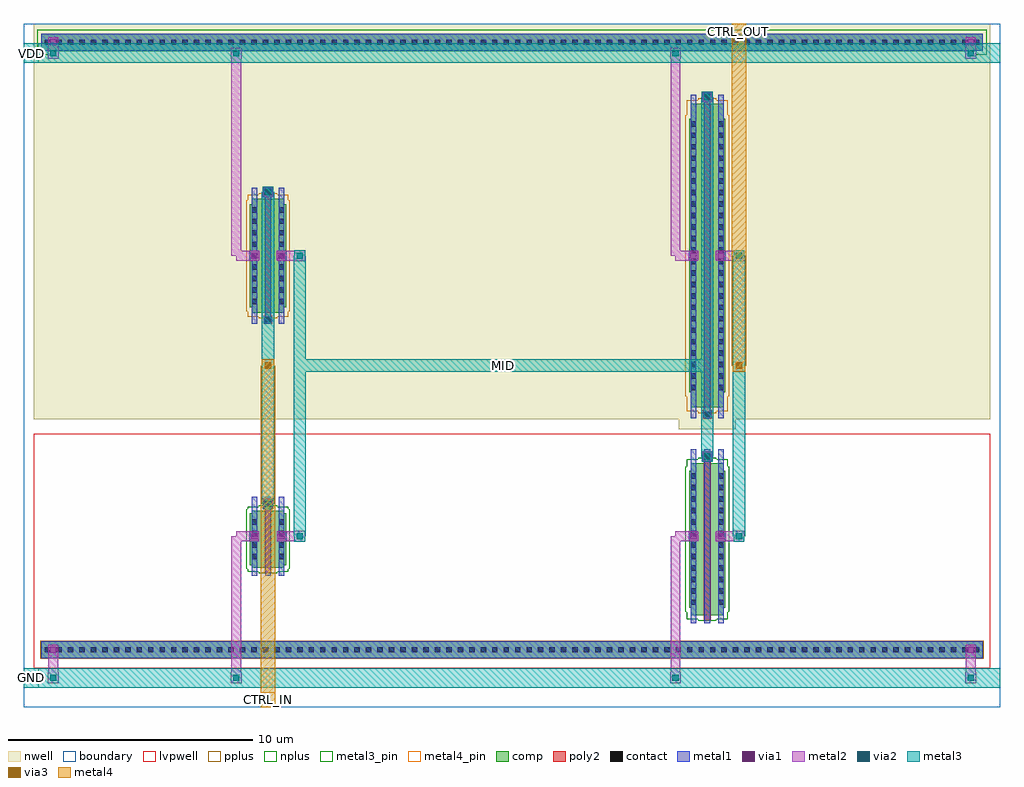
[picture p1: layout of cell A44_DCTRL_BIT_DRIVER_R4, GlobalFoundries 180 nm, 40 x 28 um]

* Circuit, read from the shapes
.subckt A44_DCTRL_BIT_DRIVER_R4 CTRL_IN CTRL_OUT GND MID VDD
XM1 MID CTRL_IN GND GND nfet_03v3 w=2.34u l=0.28u
XM2 CTRL_OUT MID GND GND nfet_03v3 w=6.22u l=0.28u
XM3 MID CTRL_IN VDD VDD pfet_03v3 w=4.67u l=0.28u
XM4 CTRL_OUT MID VDD VDD pfet_03v3 w=12.44u l=0.28u
.ends

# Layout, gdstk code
import gdstk
lib = gdstk.Library(unit=1e-6, precision=1e-09)
def R(c, l, rs):  # rectangles x0, y0, x1, y1
    for r in rs: c.add(gdstk.rectangle(r[:2], r[2:], *l))
def A(c, l, x, y, w, h, nx, ny, dx, dy):  # array of equal rectangles
    R(c, l, [(x+i*dx, y+j*dy, x+i*dx+w, y+j*dy+h) for i in range(nx) for j in range(ny)])
boundary = (0, 0)
nwell = (21, 0)
comp = (22, 0)
poly2 = (30, 0)
pplus = (31, 0)
nplus = (32, 0)
contact = (33, 0)
metal1 = (34, 0)
via1 = (35, 0)
metal2 = (36, 0)
via2 = (38, 0)
via3 = (40, 0)
metal3 = (42, 0)
metal3_pin = (42, 10)
metal4 = (46, 0)
metal4_pin = (46, 10)
lvpwell = (204, 0)

nfet_03v3_6lx9qf = lib.new_cell('nfet_03v3_6LX9QF')
R(nfet_03v3_6lx9qf, comp, [(-0.675,-3.23,0.675,-2.925), (-0.675,-3.23,0.675,-2.925), (-0.74,-2.925,0.74,2.685), (-0.74,-2.925,0.74,2.685), (-0.675,2.685,0.675,2.99), (-0.675,2.685,0.675,2.99)])
R(nfet_03v3_6lx9qf, poly2, [(-0.14,-3.45,0.14,3.09), (-0.14,-3.45,0.14,3.09), (-0.18,3.09,0.18,3.45), (-0.18,3.09,0.18,3.45)])
R(nfet_03v3_6lx9qf, nplus, [(-0.37,-3.46,0.37,-3.39), (-0.37,-3.46,0.37,-3.39), (-0.835,-3.39,0.835,-3.085), (-0.835,-3.39,0.835,-3.085), (-0.9,-3.085,0.9,2.845), (-0.9,-3.085,0.9,2.845), (-0.835,2.845,0.835,3.15), (-0.835,2.845,0.835,3.15), (-0.37,3.15,0.37,3.22), (-0.37,3.15,0.37,3.22)])
R(nfet_03v3_6lx9qf, contact, [(-0.67,-2.815,-0.45,-2.595), (-0.67,-2.815,-0.45,-2.595), (0.45,-2.815,0.67,-2.595), (0.45,-2.815,0.67,-2.595), (-0.67,-2.345,-0.45,-2.125), (-0.67,-2.345,-0.45,-2.125), (0.45,-2.345,0.67,-2.125), (0.45,-2.345,0.67,-2.125), (-0.67,-1.875,-0.45,-1.655), (-0.67,-1.875,-0.45,-1.655), (0.45,-1.875,0.67,-1.655), (0.45,-1.875,0.67,-1.655), (-0.67,-1.405,-0.45,-1.185), (-0.67,-1.405,-0.45,-1.185), (0.45,-1.405,0.67,-1.185), (0.45,-1.405,0.67,-1.185), (-0.67,-0.935,-0.45,-0.715), (-0.67,-0.935,-0.45,-0.715), (0.45,-0.935,0.67,-0.715), (0.45,-0.935,0.67,-0.715), (-0.67,-0.465,-0.45,-0.245), (-0.67,-0.465,-0.45,-0.245), (0.45,-0.465,0.67,-0.245), (0.45,-0.465,0.67,-0.245), (-0.67,0.005,-0.45,0.225), (-0.67,0.005,-0.45,0.225), (0.45,0.005,0.67,0.225), (0.45,0.005,0.67,0.225), (-0.67,0.475,-0.45,0.695), (-0.67,0.475,-0.45,0.695), (0.45,0.475,0.67,0.695), (0.45,0.475,0.67,0.695), (-0.67,0.945,-0.45,1.165), (-0.67,0.945,-0.45,1.165), (0.45,0.945,0.67,1.165), (0.45,0.945,0.67,1.165), (-0.67,1.415,-0.45,1.635), (-0.67,1.415,-0.45,1.635), (0.45,1.415,0.67,1.635), (0.45,1.415,0.67,1.635), (-0.67,1.885,-0.45,2.105), (-0.67,1.885,-0.45,2.105), (0.45,1.885,0.67,2.105), (0.45,1.885,0.67,2.105), (-0.67,2.355,-0.45,2.575), (-0.67,2.355,-0.45,2.575), (0.45,2.355,0.67,2.575), (0.45,2.355,0.67,2.575), (-0.11,3.16,0.11,3.38), (-0.11,3.16,0.11,3.38)])
R(nfet_03v3_6lx9qf, metal1, [(-0.675,-2.915,-0.445,2.675), (-0.675,-2.915,-0.445,2.675), (0.445,-2.915,0.675,2.675), (0.445,-2.915,0.675,2.675), (-0.17,3.155,0.17,3.385), (-0.17,3.155,0.17,3.385)])
R(nfet_03v3_6lx9qf, lvpwell, [(-0.86,-3.57,0.86,3.57), (-0.86,-3.57,0.86,3.57)])

nfet_03v3_whe5hu = lib.new_cell('nfet_03v3_WHE5HU')
R(nfet_03v3_whe5hu, comp, [(-0.675,-1.29,0.675,-1.18), (-0.675,-1.29,0.675,-1.18), (-0.74,-1.18,0.74,0.94), (-0.74,-1.18,0.74,0.94), (-0.675,0.94,0.675,1.05), (-0.675,0.94,0.675,1.05)])
R(nfet_03v3_whe5hu, poly2, [(-0.14,-1.51,0.14,1.15), (-0.14,-1.51,0.14,1.15), (-0.18,1.15,0.18,1.51), (-0.18,1.15,0.18,1.51)])
R(nfet_03v3_whe5hu, nplus, [(-0.37,-1.52,0.37,-1.45), (-0.37,-1.52,0.37,-1.45), (-0.835,-1.45,0.835,-1.34), (-0.835,-1.45,0.835,-1.34), (-0.9,-1.34,0.9,1.1), (-0.9,-1.34,0.9,1.1), (-0.835,1.1,0.835,1.21), (-0.835,1.1,0.835,1.21), (-0.37,1.21,0.37,1.28), (-0.37,1.21,0.37,1.28)])
R(nfet_03v3_whe5hu, contact, [(-0.67,-0.935,-0.45,-0.715), (-0.67,-0.935,-0.45,-0.715), (0.45,-0.935,0.67,-0.715), (0.45,-0.935,0.67,-0.715), (-0.67,-0.465,-0.45,-0.245), (-0.67,-0.465,-0.45,-0.245), (0.45,-0.465,0.67,-0.245), (0.45,-0.465,0.67,-0.245), (-0.67,0.005,-0.45,0.225), (-0.67,0.005,-0.45,0.225), (0.45,0.005,0.67,0.225), (0.45,0.005,0.67,0.225), (-0.67,0.475,-0.45,0.695), (-0.67,0.475,-0.45,0.695), (0.45,0.475,0.67,0.695), (0.45,0.475,0.67,0.695), (-0.11,1.22,0.11,1.44), (-0.11,1.22,0.11,1.44)])
R(nfet_03v3_whe5hu, metal1, [(-0.675,-1.17,-0.445,0.93), (-0.675,-1.17,-0.445,0.93), (0.445,-1.17,0.675,0.93), (0.445,-1.17,0.675,0.93), (-0.17,1.215,0.17,1.445), (-0.17,1.215,0.17,1.445)])
R(nfet_03v3_whe5hu, lvpwell, [(-0.86,-1.63,0.86,1.63), (-0.86,-1.63,0.86,1.63)])

pfet_03v3_8rs7kv = lib.new_cell('pfet_03v3_8RS7KV')
R(pfet_03v3_8rs7kv, nwell, [(-1.17,-7.11,1.17,7.11), (-1.17,-7.11,1.17,7.11)])
R(pfet_03v3_8rs7kv, comp, [(-0.675,-6.22,0.675,-5.605), (-0.675,-6.22,0.675,-5.605), (-0.74,-5.605,0.74,5.605), (-0.74,-5.605,0.74,5.605), (-0.675,5.605,0.675,6.22), (-0.675,5.605,0.675,6.22)])
R(pfet_03v3_8rs7kv, poly2, [(-0.18,-6.68,0.18,-6.32), (-0.18,-6.68,0.18,-6.32), (-0.14,-6.32,0.14,6.32), (-0.14,-6.32,0.14,6.32), (-0.18,6.32,0.18,6.68), (-0.18,6.32,0.18,6.68)])
R(pfet_03v3_8rs7kv, pplus, [(-0.37,-6.45,0.37,-6.38), (-0.37,-6.45,0.37,-6.38), (-0.835,-6.38,0.835,-5.765), (-0.835,-6.38,0.835,-5.765), (-0.9,-5.765,0.9,5.765), (-0.9,-5.765,0.9,5.765), (-0.835,5.765,0.835,6.38), (-0.835,5.765,0.835,6.38), (-0.37,6.38,0.37,6.45), (-0.37,6.38,0.37,6.45)])
R(pfet_03v3_8rs7kv, contact, [(-0.11,-6.61,0.11,-6.39), (-0.11,-6.61,0.11,-6.39), (-0.67,-5.515,-0.45,-5.295), (-0.67,-5.515,-0.45,-5.295), (0.45,-5.515,0.67,-5.295), (0.45,-5.515,0.67,-5.295), (-0.67,-5.045,-0.45,-4.825), (-0.67,-5.045,-0.45,-4.825), (0.45,-5.045,0.67,-4.825), (0.45,-5.045,0.67,-4.825), (-0.67,-4.575,-0.45,-4.355), (-0.67,-4.575,-0.45,-4.355), (0.45,-4.575,0.67,-4.355), (0.45,-4.575,0.67,-4.355), (-0.67,-4.105,-0.45,-3.885), (-0.67,-4.105,-0.45,-3.885), (0.45,-4.105,0.67,-3.885), (0.45,-4.105,0.67,-3.885), (-0.67,-3.635,-0.45,-3.415), (-0.67,-3.635,-0.45,-3.415), (0.45,-3.635,0.67,-3.415), (0.45,-3.635,0.67,-3.415), (-0.67,-3.165,-0.45,-2.945), (-0.67,-3.165,-0.45,-2.945), (0.45,-3.165,0.67,-2.945), (0.45,-3.165,0.67,-2.945), (-0.67,-2.695,-0.45,-2.475), (-0.67,-2.695,-0.45,-2.475), (0.45,-2.695,0.67,-2.475), (0.45,-2.695,0.67,-2.475), (-0.67,-2.225,-0.45,-2.005), (-0.67,-2.225,-0.45,-2.005), (0.45,-2.225,0.67,-2.005), (0.45,-2.225,0.67,-2.005), (-0.67,-1.755,-0.45,-1.535), (-0.67,-1.755,-0.45,-1.535), (0.45,-1.755,0.67,-1.535), (0.45,-1.755,0.67,-1.535), (-0.67,-1.285,-0.45,-1.065), (-0.67,-1.285,-0.45,-1.065), (0.45,-1.285,0.67,-1.065), (0.45,-1.285,0.67,-1.065), (-0.67,-0.815,-0.45,-0.595), (-0.67,-0.815,-0.45,-0.595), (0.45,-0.815,0.67,-0.595), (0.45,-0.815,0.67,-0.595), (-0.67,-0.345,-0.45,-0.125), (-0.67,-0.345,-0.45,-0.125), (0.45,-0.345,0.67,-0.125), (0.45,-0.345,0.67,-0.125), (-0.67,0.125,-0.45,0.345), (-0.67,0.125,-0.45,0.345), (0.45,0.125,0.67,0.345), (0.45,0.125,0.67,0.345), (-0.67,0.595,-0.45,0.815), (-0.67,0.595,-0.45,0.815), (0.45,0.595,0.67,0.815), (0.45,0.595,0.67,0.815), (-0.67,1.065,-0.45,1.285), (-0.67,1.065,-0.45,1.285), (0.45,1.065,0.67,1.285), (0.45,1.065,0.67,1.285), (-0.67,1.535,-0.45,1.755), (-0.67,1.535,-0.45,1.755), (0.45,1.535,0.67,1.755), (0.45,1.535,0.67,1.755), (-0.67,2.005,-0.45,2.225), (-0.67,2.005,-0.45,2.225), (0.45,2.005,0.67,2.225), (0.45,2.005,0.67,2.225), (-0.67,2.475,-0.45,2.695), (-0.67,2.475,-0.45,2.695), (0.45,2.475,0.67,2.695), (0.45,2.475,0.67,2.695), (-0.67,2.945,-0.45,3.165), (-0.67,2.945,-0.45,3.165), (0.45,2.945,0.67,3.165), (0.45,2.945,0.67,3.165), (-0.67,3.415,-0.45,3.635), (-0.67,3.415,-0.45,3.635), (0.45,3.415,0.67,3.635), (0.45,3.415,0.67,3.635), (-0.67,3.885,-0.45,4.105), (-0.67,3.885,-0.45,4.105), (0.45,3.885,0.67,4.105), (0.45,3.885,0.67,4.105), (-0.67,4.355,-0.45,4.575), (-0.67,4.355,-0.45,4.575), (0.45,4.355,0.67,4.575), (0.45,4.355,0.67,4.575), (-0.67,4.825,-0.45,5.045), (-0.67,4.825,-0.45,5.045), (0.45,4.825,0.67,5.045), (0.45,4.825,0.67,5.045), (-0.67,5.295,-0.45,5.515), (-0.67,5.295,-0.45,5.515), (0.45,5.295,0.67,5.515), (0.45,5.295,0.67,5.515), (-0.11,6.39,0.11,6.61), (-0.11,6.39,0.11,6.61)])
R(pfet_03v3_8rs7kv, metal1, [(-0.17,-6.615,0.17,-6.385), (-0.17,-6.615,0.17,-6.385), (-0.675,-5.595,-0.445,5.595), (-0.675,-5.595,-0.445,5.595), (0.445,-5.595,0.675,5.595), (0.445,-5.595,0.675,5.595), (-0.17,6.385,0.17,6.615), (-0.17,6.385,0.17,6.615)])

pfet_03v3_gxth48 = lib.new_cell('pfet_03v3_GXTH48')
R(pfet_03v3_gxth48, nwell, [(-1.17,-3.225,1.17,3.225), (-1.17,-3.225,1.17,3.225)])
R(pfet_03v3_gxth48, comp, [(-0.675,-2.335,0.675,-2.11), (-0.675,-2.335,0.675,-2.11), (-0.74,-2.11,0.74,2.11), (-0.74,-2.11,0.74,2.11), (-0.675,2.11,0.675,2.335), (-0.675,2.11,0.675,2.335)])
R(pfet_03v3_gxth48, poly2, [(-0.18,-2.795,0.18,-2.435), (-0.18,-2.795,0.18,-2.435), (-0.14,-2.435,0.14,2.435), (-0.14,-2.435,0.14,2.435), (-0.18,2.435,0.18,2.795), (-0.18,2.435,0.18,2.795)])
R(pfet_03v3_gxth48, pplus, [(-0.37,-2.565,0.37,-2.495), (-0.37,-2.565,0.37,-2.495), (-0.835,-2.495,0.835,-2.27), (-0.835,-2.495,0.835,-2.27), (-0.9,-2.27,0.9,2.27), (-0.9,-2.27,0.9,2.27), (-0.835,2.27,0.835,2.495), (-0.835,2.27,0.835,2.495), (-0.37,2.495,0.37,2.565), (-0.37,2.495,0.37,2.565)])
R(pfet_03v3_gxth48, contact, [(-0.11,-2.725,0.11,-2.505), (-0.11,-2.725,0.11,-2.505), (-0.67,-1.99,-0.45,-1.77), (-0.67,-1.99,-0.45,-1.77), (0.45,-1.99,0.67,-1.77), (0.45,-1.99,0.67,-1.77), (-0.67,-1.52,-0.45,-1.3), (-0.67,-1.52,-0.45,-1.3), (0.45,-1.52,0.67,-1.3), (0.45,-1.52,0.67,-1.3), (-0.67,-1.05,-0.45,-0.83), (-0.67,-1.05,-0.45,-0.83), (0.45,-1.05,0.67,-0.83), (0.45,-1.05,0.67,-0.83), (-0.67,-0.58,-0.45,-0.36), (-0.67,-0.58,-0.45,-0.36), (0.45,-0.58,0.67,-0.36), (0.45,-0.58,0.67,-0.36), (-0.67,-0.11,-0.45,0.11), (-0.67,-0.11,-0.45,0.11), (0.45,-0.11,0.67,0.11), (0.45,-0.11,0.67,0.11), (-0.67,0.36,-0.45,0.58), (-0.67,0.36,-0.45,0.58), (0.45,0.36,0.67,0.58), (0.45,0.36,0.67,0.58), (-0.67,0.83,-0.45,1.05), (-0.67,0.83,-0.45,1.05), (0.45,0.83,0.67,1.05), (0.45,0.83,0.67,1.05), (-0.67,1.3,-0.45,1.52), (-0.67,1.3,-0.45,1.52), (0.45,1.3,0.67,1.52), (0.45,1.3,0.67,1.52), (-0.67,1.77,-0.45,1.99), (-0.67,1.77,-0.45,1.99), (0.45,1.77,0.67,1.99), (0.45,1.77,0.67,1.99), (-0.11,2.505,0.11,2.725), (-0.11,2.505,0.11,2.725)])
R(pfet_03v3_gxth48, metal1, [(-0.17,-2.73,0.17,-2.5), (-0.17,-2.73,0.17,-2.5), (-0.675,-2.1,-0.445,2.1), (-0.675,-2.1,-0.445,2.1), (0.445,-2.1,0.675,2.1), (0.445,-2.1,0.675,2.1), (-0.17,2.5,0.17,2.73), (-0.17,2.5,0.17,2.73)])

a44_dctrl_bit_driver_r4 = lib.new_cell('A44_DCTRL_BIT_DRIVER_R4')
R(a44_dctrl_bit_driver_r4, boundary, [(0,0,40,28)])
R(a44_dctrl_bit_driver_r4, nwell, [(0.4,11.8,39.6,28)])
R(a44_dctrl_bit_driver_r4, comp, [(0.7,2,39.3,2.7), (0.7,26.9,39.3,27.6)])
R(a44_dctrl_bit_driver_r4, pplus, [(0.675,1.975,39.325,2.725)])
R(a44_dctrl_bit_driver_r4, nplus, [(0.54,26.74,0.99,26.875), (39.01,26.74,39.46,26.875), (0.54,26.875,39.46,27.76)])
A(a44_dctrl_bit_driver_r4, contact, 0.855, 2.24, 0.22, 0.22, 82, 2, 0.47, 24.9)
R(a44_dctrl_bit_driver_r4, metal1, [(0.7,2,39.3,2.7), (27.325,3.44,27.555,6.8), (27.885,3.44,28.115,10.07), (28.445,3.44,28.675,6.8), (9.325,5.38,9.555,6.8), (9.885,5.38,10.115,8.13), (10.445,5.38,10.675,6.8), (9.24,6.8,9.64,7.2), (10.36,6.8,10.76,7.2), (27.24,6.8,27.64,7.2), (28.36,6.8,28.76,7.2), (9.325,7.2,9.555,8.62), (10.445,7.2,10.675,8.62), (27.325,7.2,27.555,10.56), (28.445,7.2,28.675,10.56), (9.8,8.13,10.2,8.53), (9.885,8.53,10.115,8.62), (27.8,10.07,28.2,10.47), (27.885,10.47,28.115,10.56), (27.325,11.83,27.555,18.3), (27.885,11.83,28.115,24.8), (28.445,11.83,28.675,18.3), (9.325,15.715,9.555,18.3), (9.885,15.715,10.115,20.915), (10.445,15.715,10.675,18.3), (9.24,18.3,9.64,18.7), (10.36,18.3,10.76,18.7), (27.24,18.3,27.64,18.7), (28.36,18.3,28.76,18.7), (9.325,18.7,9.555,21.285), (10.445,18.7,10.675,21.285), (27.325,18.7,27.555,25.1), (28.445,18.7,28.675,25.1), (9.8,20.915,10.2,21.315), (27.8,24.8,28.2,25.2), (0.7,26.9,39.3,27.6)])
R(a44_dctrl_bit_driver_r4, via1, [(1.07,2.22,1.33,2.48), (38.67,2.22,38.93,2.48), (9.31,6.87,9.57,7.13), (10.43,6.87,10.69,7.13), (27.31,6.87,27.57,7.13), (28.43,6.87,28.69,7.13), (9.87,8.2,10.13,8.46), (27.87,10.14,28.13,10.4), (9.31,18.37,9.57,18.63), (10.43,18.37,10.69,18.63), (27.31,18.37,27.57,18.63), (28.43,18.37,28.69,18.63), (9.87,20.985,10.13,21.245), (27.87,24.87,28.13,25.13), (1.07,27.12,1.33,27.38), (38.67,27.12,38.93,27.38)])
R(a44_dctrl_bit_driver_r4, metal2, [(0.98,0.98,1.42,1.42), (8.48,0.98,8.92,1.42), (26.48,0.98,26.92,1.42), (38.58,0.98,39.02,1.42), (1,1.42,1.4,2.55), (8.5,1.42,8.9,6.8), (26.5,1.42,26.9,6.8), (38.6,1.42,39,2.55), (11.08,6.78,11.52,6.8), (29.08,6.78,29.52,6.8), (8.5,6.8,9.64,7), (10.36,6.8,11.52,7.2), (26.5,6.8,27.64,7), (28.36,6.8,29.52,7.2), (8.7,7,9.64,7.2), (26.7,7,27.64,7.2), (11.08,7.2,11.52,7.22), (29.08,7.2,29.52,7.22), (9.78,8.11,10.22,8.55), (27.78,10.05,28.22,10.49), (11.08,18.28,11.52,18.3), (29.08,18.28,29.52,18.3), (8.7,18.3,9.64,18.5), (10.36,18.3,11.52,18.7), (26.7,18.3,27.64,18.5), (28.36,18.3,29.52,18.7), (8.5,18.5,9.64,18.7), (26.5,18.5,27.64,18.7), (8.5,18.7,8.9,26.58), (11.08,18.7,11.52,18.72), (26.5,18.7,26.9,26.58), (29.08,18.7,29.52,18.72), (9.78,20.895,10.22,21.335), (27.78,24.78,28.22,25.22), (0.98,26.58,1.42,27.02), (8.48,26.58,8.92,27.02), (26.48,26.58,26.92,27.02), (38.58,26.58,39.02,27.02), (1,27.02,1.4,27.45), (38.6,27.02,39,27.45)])
R(a44_dctrl_bit_driver_r4, via2, [(1.07,1.07,1.33,1.33), (8.57,1.07,8.83,1.33), (26.57,1.07,26.83,1.33), (38.67,1.07,38.93,1.33), (11.17,6.87,11.43,7.13), (29.17,6.87,29.43,7.13), (9.87,8.2,10.13,8.46), (27.87,10.14,28.13,10.4), (11.17,18.37,11.43,18.63), (29.17,18.37,29.43,18.63), (9.87,20.985,10.13,21.245), (27.87,24.87,28.13,25.13), (1.07,26.67,1.33,26.93), (8.57,26.67,8.83,26.93), (26.57,26.67,26.83,26.93), (38.67,26.67,38.93,26.93)])
R(a44_dctrl_bit_driver_r4, via3, [(9.87,13.87,10.13,14.13), (29.17,13.87,29.43,14.13)])
R(a44_dctrl_bit_driver_r4, metal3, [(0,0.8,40,1.6), (11.08,6.78,11.52,7), (29.08,6.78,29.52,7), (11.05,7,11.55,13.75), (29.05,7,29.55,18.5), (9.78,8.11,10.22,8.33), (9.75,8.33,10.25,21.115), (27.78,10.05,28.22,10.27), (27.75,10.27,28.25,13.75), (11.05,13.75,28.25,14.25), (11.05,14.25,11.55,18.5), (27.75,14.25,28.25,25), (11.08,18.5,11.52,18.72), (29.08,18.5,29.52,18.72), (9.78,21.115,10.22,21.335), (27.78,25,28.22,25.22), (0,26.4,40,27.2)])
R(a44_dctrl_bit_driver_r4, metal3_pin, [(0,0.8,0.6,1.6), (0,26.4,0.6,27.2)])
R(a44_dctrl_bit_driver_r4, metal4, [(9.7,0,10.3,14), (29.05,13.75,29.55,14), (9.75,14,10.25,14.25), (29,14,29.6,28)])
R(a44_dctrl_bit_driver_r4, metal4_pin, [(9.7,0,10.3,0.6), (29,27.4,29.6,28)])
R(a44_dctrl_bit_driver_r4, lvpwell, [(0.4,1.6,39.6,11.2)])
a44_dctrl_bit_driver_r4.add(gdstk.Reference(nfet_03v3_6lx9qf, (28,7)))
a44_dctrl_bit_driver_r4.add(gdstk.Reference(nfet_03v3_whe5hu, (10,7)))
a44_dctrl_bit_driver_r4.add(gdstk.Reference(pfet_03v3_8rs7kv, (28,18.5)))
a44_dctrl_bit_driver_r4.add(gdstk.Reference(pfet_03v3_gxth48, (10,18.5)))
a44_dctrl_bit_driver_r4.add(gdstk.Label('MID', (19.65,14), layer=42, texttype=0))
a44_dctrl_bit_driver_r4.add(gdstk.Label('VDD', (0.3,26.8), layer=42, texttype=10))
a44_dctrl_bit_driver_r4.add(gdstk.Label('GND', (0.3,1.2), layer=42, texttype=10))
a44_dctrl_bit_driver_r4.add(gdstk.Label('CTRL_IN', (10,0.3), layer=46, texttype=10))
a44_dctrl_bit_driver_r4.add(gdstk.Label('CTRL_OUT', (29.3,27.7), layer=46, texttype=10))

lib.write_gds('A44_DCTRL_BIT_DRIVER_R4.gds')
